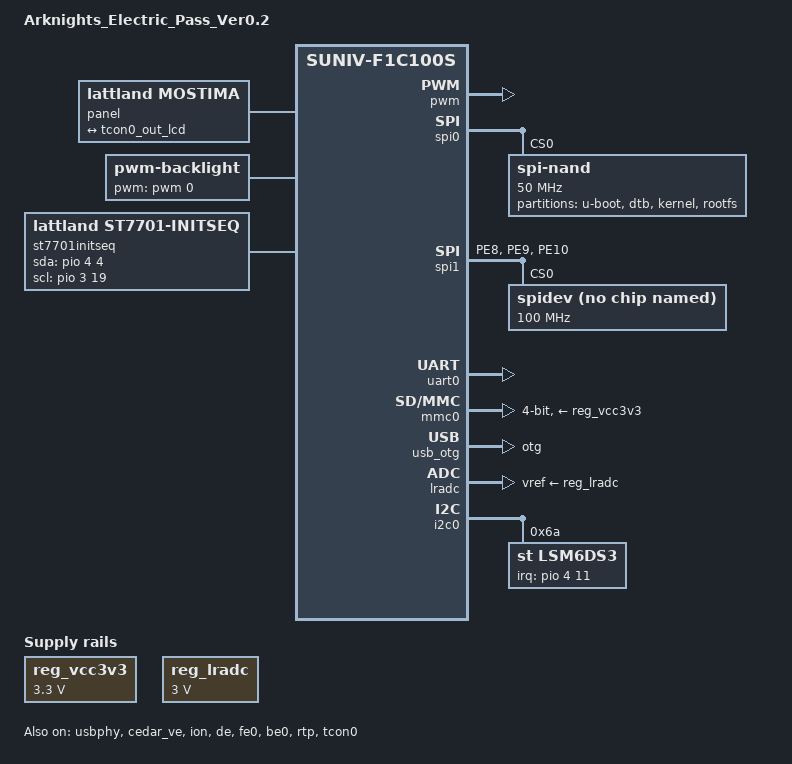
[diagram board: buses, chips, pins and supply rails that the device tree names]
// SPDX-License-Identifier: (GPL-2.0+ OR X11)

/dts-v1/;
#include "suniv-f1c100s.dtsi"
#include <dt-bindings/input/input.h>
#include <dt-bindings/gpio/gpio.h>
#include <dt-bindings/display/st7701initseq.h>

/ {
	model = "Arknights_Electric_Pass_Ver0.2";
	compatible = "rhodesisland,electric-pass",
	         "allwinner,suniv-f1c200s",
			 "allwinner,suniv-f1c100s";

	chosen {
		#address-cells = <1>;
		#size-cells = <1>;
		ranges;

		// this bootargs will not work. change bootargs in uboot!
		bootargs = "serial0:115200n8 console=ttyS0,115200 console=tty0 earlyprintk rootwait init=/preinit root=/dev/mtdblock2 rootfstype=squashfs overlayfsdev=/dev/mtdblock3 fbcon=rotate:2 debug drm.debug=0x1ff";

		// simplefb_lcd: framebuffer-lcd0 {
		// 	compatible = "allwinner,simple-framebuffer",
		// 		     "simple-framebuffer";
		// 	allwinner,pipeline = "de_be0-lcd0";
		// 	clocks = <&ccu CLK_BUS_DE_BE>, <&ccu CLK_DE_BE>,
		// 		 <&ccu CLK_DRAM_DE_BE>, <&ccu CLK_BUS_LCD>,
		// 		 <&ccu CLK_TCON>;
		// 	status = "disabled";
		// };
	};

		panel: panel {
		// compatible = "qiaodian,qd43003c0-40", "simple-panel";	// 4.3 inch,480x272
		//compatible = "foxlink,fl500wvr00-a0t", "simple-panel";	// 4.3 & 5 inch,800x480
		//compatible = "hongxiangrui,hxr401-40", "simple-panel";	// 480x480
		//compatible = "huadi,hd395004c40-40", "simple-panel";	// 720x720
		//compatible = "avic,tm070ddh03", "simple-panel";	// 1024x600
		compatible = "lattland,mostima", "simple-panel";	// 360x640 3 inch

		#address-cells = <1>;
		#size-cells = <0>;

		port@0 {
			reg = <0>;
			#address-cells = <1>;
			#size-cells = <0>;

			panel_input: endpoint@0 {
				reg = <0>;
				remote-endpoint = <&tcon0_out_lcd>;
			};
		};
	};
	reg_vcc3v3: vcc3v3 {
		compatible = "regulator-fixed";
		regulator-name = "vcc3v3";
		regulator-min-microvolt = <3300000>;
		regulator-max-microvolt = <3300000>;
	};

	reg_lradc: reg_lradc {
		compatible = "regulator-fixed";
		regulator-name = "lradc_vref";
		regulator-min-microvolt = <3000000>;
		regulator-max-microvolt = <3000000>;
	};

	backlight {
		compatible = "pwm-backlight";
		pwms = <&pwm 0 10000 0>;
		

		brightness-levels = <0 4 8 16 32 64 128 196 220 255>;
		default-brightness-level = <6>;
	};

	// reserved-memory {
    //       #address-cells = <1>;
    //       #size-cells = <1>;
    //       ranges;
	// 	  cedar_reserved: cedar_reserved@80100000 {
	// 			compatible = "shared-dma-pool";
	// 			reg = <0x80100000 0xc0000>;
	// 			no-map;
	// 		};
	// };

	st7701initseq: st7701initseq {
		compatible = "lattland,st7701-initseq";
		status = "okay";
		sda-gpios = <&pio 4 4 GPIO_ACTIVE_HIGH>; /* PE4 */
		scl-gpios = <&pio 3 19 GPIO_ACTIVE_HIGH>; /* PD19 */
		cs-gpios = <&pio 4 3 GPIO_ACTIVE_HIGH>; /* PE3 */

		init-sequence = <
			ST7701INIT_BEGIN_WRITE

			ST7701INIT_WRITE_COMMAND_8 0xFF 
			ST7701INIT_WRITE_BYTES 5 0x77 0x01 0x00 0x00 0x13 

			ST7701INIT_WRITE_C8_D8 0xEF 0x08 

			ST7701INIT_WRITE_COMMAND_8 0xFF 
			ST7701INIT_WRITE_BYTES 5 0x77 0x01 0x00 0x00 0x10 

			ST7701INIT_WRITE_C8_D16 0xC0 0x4F 0x00
			ST7701INIT_WRITE_C8_D16 0xC1 0x07 0x02  
			ST7701INIT_WRITE_C8_D16 0xC2 0x31 0x05 

			
			ST7701INIT_WRITE_COMMAND_8 0xC3 
			ST7701INIT_WRITE_BYTES 3 0x82 0x18 0x0e 

			ST7701INIT_WRITE_C8_D8 0xCC 0x10 

			ST7701INIT_WRITE_COMMAND_8 0xB0 
			ST7701INIT_WRITE_BYTES 16 
			0x0A 0x14 0x1B 0x0D 
			0x10 0x05 0x07 0x08 
			0x06 0x22 0x03 0x11 
			0x10 0xAD 0x31 0x1B 

			ST7701INIT_WRITE_COMMAND_8 0xB1 
			ST7701INIT_WRITE_BYTES 16 
			0x0A 0x14 0x1B 0x0D 
			0x10 0x05 0x07 0x08 
			0x06 0x22 0x03 0x11 
			0x10 0xAD 0x31 0x1B 

			ST7701INIT_WRITE_COMMAND_8 0xFF 
			ST7701INIT_WRITE_BYTES 5 0x77 0x01 0x00 0x00 0x11 

			ST7701INIT_WRITE_C8_D8 0xB0 0x53 
			ST7701INIT_WRITE_C8_D8 0xB1 0x60 
			ST7701INIT_WRITE_C8_D8 0xB2 0x07 
			ST7701INIT_WRITE_C8_D8 0xB3 0x80 
			ST7701INIT_WRITE_C8_D8 0xB5 0x49 
			ST7701INIT_WRITE_C8_D8 0xB7 0x85 
			ST7701INIT_WRITE_C8_D8 0xB8 0x21 
			ST7701INIT_WRITE_C8_D8 0xC1 0x78 
			ST7701INIT_WRITE_C8_D8 0xC2 0x78 

			ST7701INIT_WRITE_COMMAND_8 0xE0 
			ST7701INIT_WRITE_BYTES 3 0x00 0x00 0x02 

			ST7701INIT_WRITE_COMMAND_8 0xE1 
			ST7701INIT_WRITE_BYTES 11 
			0x03 0xA0 0x00 0x00 
			0x02 0xA0 0x00 0x00 
			0x00 0x33 0x33 

			ST7701INIT_WRITE_COMMAND_8 0xE2 
			ST7701INIT_WRITE_BYTES 12 
			0x22 0x22 0x33 0x33 
			0x88 0xA0 0x00 0x00 
			0x87 0xA0 0x00 0x00 

			ST7701INIT_WRITE_COMMAND_8 0xE3 
			ST7701INIT_WRITE_BYTES 4 0x00 0x00 0x22 0x22 

			ST7701INIT_WRITE_C8_D16 0xE4 0x44 0x44 

			ST7701INIT_WRITE_COMMAND_8 0xE5 
			ST7701INIT_WRITE_BYTES 16 
			0x04 0x84 0xA0 0xA0 
			0x06 0x86 0xA0 0xA0 
			0x08 0x88 0xA0 0xA0 
			0x0A 0x8A 0xA0 0xA0 

			ST7701INIT_WRITE_COMMAND_8 0xE6 
			ST7701INIT_WRITE_BYTES 4 0x00 0x00 0x22 0x22 

			ST7701INIT_WRITE_C8_D16 0xE7 0x44 0x44 

			ST7701INIT_WRITE_COMMAND_8 0xE8 
			ST7701INIT_WRITE_BYTES 16 
			0x03 0x83 0xA0 0xA0 
			0x05 0x85 0xA0 0xA0 
			0x07 0x87 0xA0 0xA0 
			0x09 0x89 0xA0 0xA0 

			ST7701INIT_WRITE_COMMAND_8 0xEB 
			ST7701INIT_WRITE_BYTES 7 
			0x00 0x01 0xE4 0xE4 
			0x88 0x00 0x40 

			ST7701INIT_WRITE_C8_D16 0xEC 0x3C 0x01 

			ST7701INIT_WRITE_COMMAND_8 0xED 
			ST7701INIT_WRITE_BYTES 16 
			0xAB 0x89 0x76 0x54 
			0x02 0xFF 0xFF 0xFF 
			0xFF 0xFF 0xFF 0x20 
			0x45 0x67 0x98 0xBA 

			ST7701INIT_WRITE_COMMAND_8 0xFF 
			ST7701INIT_WRITE_BYTES 5 0x77 0x01 0x00 0x00 0x13 

			ST7701INIT_WRITE_C8_D16 0xE8 0x00 0x0E 

			ST7701INIT_WRITE_COMMAND_8 0x20 
			ST7701INIT_WRITE_C8_D8 0x3A 0x50 

			ST7701INIT_WRITE_COMMAND_8 0x11 
			ST7701INIT_END_WRITE 

			ST7701INIT_DELAY 150 

			ST7701INIT_BEGIN_WRITE 
			ST7701INIT_WRITE_C8_D16 0xE8 0x00 0x0C 
			ST7701INIT_END_WRITE 

			ST7701INIT_DELAY 100 

			ST7701INIT_BEGIN_WRITE 
			ST7701INIT_WRITE_C8_D16 0xE8 0x00 0x00 

			ST7701INIT_WRITE_COMMAND_8 0xFF 
			ST7701INIT_WRITE_BYTES 5 0x77 0x01 0x00 0x00 0x00 

			ST7701INIT_WRITE_COMMAND_8 0x29 
			ST7701INIT_END_WRITE
			ST7701INIT_DELAY 20
		>;
	};
};

&pio{


	spi1_pins: spi1-pins {
		pins = "PE8", "PE9", "PE10";
		function = "spi1";
		bias-pull-up;
	};

	lcd_rgb565_no_de_pins: lcd-rgb565-no-de-pins {
		pins = "PD1", "PD2", "PD3", "PD4", "PD5",
			"PD6", "PD7", "PD8", "PD9", "PD10", "PD11", 
			"PD13", "PD14", "PD15", "PD16", "PD17",
			"PD18", "PD20", "PD21";
		function = "lcd";
	};
};

&pwm {
	pinctrl-names = "default";
	pinctrl-0 = <&pwm0_pe_pins>;
	status = "okay";
};


&spi0 {
	status = "okay";

	spi-nor@0 {
		#address-cells = <1>;
		#size-cells = <1>;
		compatible = "winbond,w25q128", "jedec,spi-nor";
		reg = <0>;
		spi-max-frequency = <50000000>;
		status = "disabled";

		partitions {
			compatible = "fixed-partitions";
			#address-cells = <1>;
			#size-cells = <1>;

			partition@0 {
				label = "u-boot";
				reg = <0x000000 0x70000>;
				read-only;
			};

			partition@1 {
				label = "kernel";
				reg = <0x70000 0x590000>;
				read-only;
			};

			partition@2 {
				label = "rom";
				reg = <0x600000 0x700000>;
				read-only;
			};

			partition@3 {
				label = "overlay";
				reg = <0xd00000 0x300000>;
			};
		};
	};

	spi-nand@0 {
		#address-cells = <1>;
		#size-cells = <1>;
		compatible = "spi-nand";
		reg = <0>;
		spi-max-frequency = <50000000>;
		status = "okay";

		partitions {
			compatible = "fixed-partitions";
			#address-cells = <1>;
			#size-cells = <1>;

			partition@0 {
				label = "u-boot";
				reg = <0x000000 0x100000>;
				read-only;
			};

			partition@1 {
				label = "dtb";
				reg = <0x100000 0x20000>;
				read-only;
			};

			partition@2 {
				label = "kernel";
				reg = <0x120000 0x500000>;
				read-only;
			};

			partition@3 {
				label = "rootfs";
				reg = <0x620000 0x79E0000>;
			};
		};
	};
};

&spi1 {
	pinctrl-names = "default";
	pinctrl-0 = <&spi1_pins>;
	status = "okay";
	// cs-gpios = <&pio 4 7 GPIO_ACTIVE_HIGH>;/* PE7 */
	spidev@0 {
	   compatible = "rohm,dh2228fv";	/* Same as "spidev" but without errors at boot. Search "buggy DT" to understand */
	   spi-max-frequency = <100000000>;
	   reg = <0>;
	};
};

&uart0 {
	pinctrl-names = "default";
	pinctrl-0 = <&uart0_pe_pins>;
	status = "okay";
};
// &uart1 {
// 	pinctrl-names = "default";
// 	pinctrl-0 = <&uart1_pa_pins>;
// 	status = "disabled";
// };

&mmc0 {	
	vmmc-supply = <&reg_vcc3v3>;
	bus-width = <4>;
	status = "okay";
	broken-cd;
};

&otg_sram {
	status = "okay";
};

&usb_otg {
	dr_mode = "otg"; /* otg host peripheral */
	status = "okay";
};

&usbphy {
	status = "okay";
};

&cedar_ve {
	status = "okay";
};

&ion {
	status = "okay";
};

&de {
	status = "okay";
};

&fe0 {
	status = "okay";
};

&be0 {
	status = "okay";
};

&tve0 {
	status = "disabled";
};

&rtp {
	status = "okay";
};

&tcon0 {
	pinctrl-names = "default";
	pinctrl-0 = <&lcd_rgb565_no_de_pins>;
	status = "okay";
};

&tcon0_out {
	tcon0_out_lcd: endpoint@0 {
		reg = <0>;
		remote-endpoint = <&panel_input>;
	};
};

&lradc {
	vref-supply = <&reg_lradc>;
	status = "okay";

	button-num-1 {
		label = "Number_1";
		linux,code = <KEY_1>;
		channel = <0>;
		voltage = <0>;
	};

	button-num-2 {
		label = "Number_2";
		linux,code = <KEY_2>;
		channel = <0>;
		voltage = <444444>;
	};

	button-num-3 {
		label = "Number_3";
		linux,code = <KEY_3>;
		channel = <0>;
		voltage = <825396>;
	};

	button-num-4 {
		label = "Number_4";
		linux,code = <KEY_4>;
		channel = <0>;
		voltage = <1111111>;
	};

	button-num-5 {
		label = "Number_5";
		linux,code = <KEY_5>;
		channel = <0>;
		voltage = <1365079>;
	};

	button-num-6 {
		label = "Number_6";
		linux,code = <KEY_6>;
		channel = <0>;
		voltage = <1555555>;
	};
};



// &codec {
// 	allwinner,audio-routing =
// 		"Headphone", "HP",
// 		"Headphone", "HPCOM",
// 		"LINEIN", "Line In",
// 		"FMINL", "Left FM In",
// 		"FMINR", "Right FM In",
// 		"MIC", "Mic";
// 	status = "okay";
// };

&i2c0 {
	pinctrl-names = "default";
	pinctrl-0 = <&i2c0_pd_pins>;
	status = "okay";

	lsm6ds3:lsm6ds3@6a {
		compatible = "st,lsm6ds3";
		reg = <0x6a>;
		interrupt-parent = <&pio>;
		interrupts = <4 11 IRQ_TYPE_EDGE_FALLING>;/*(PE11)*/
	};
};

// &csi0 {
// 	pinctrl-names = "default";
// 	pinctrl-0 = <&csi0_pins>;
// 	packed-format;
// 	status = "okay";

// 	port {
// 		csi0_ep: endpoint {
// 			remote-endpoint = <&ov2640_ep>;
// 			bus-width = <8>;
// 			hsync-active = <0>;
// 			vsync-active = <0>;
// 			pclk-sample = <1>;
// 		};
// 	};
// };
